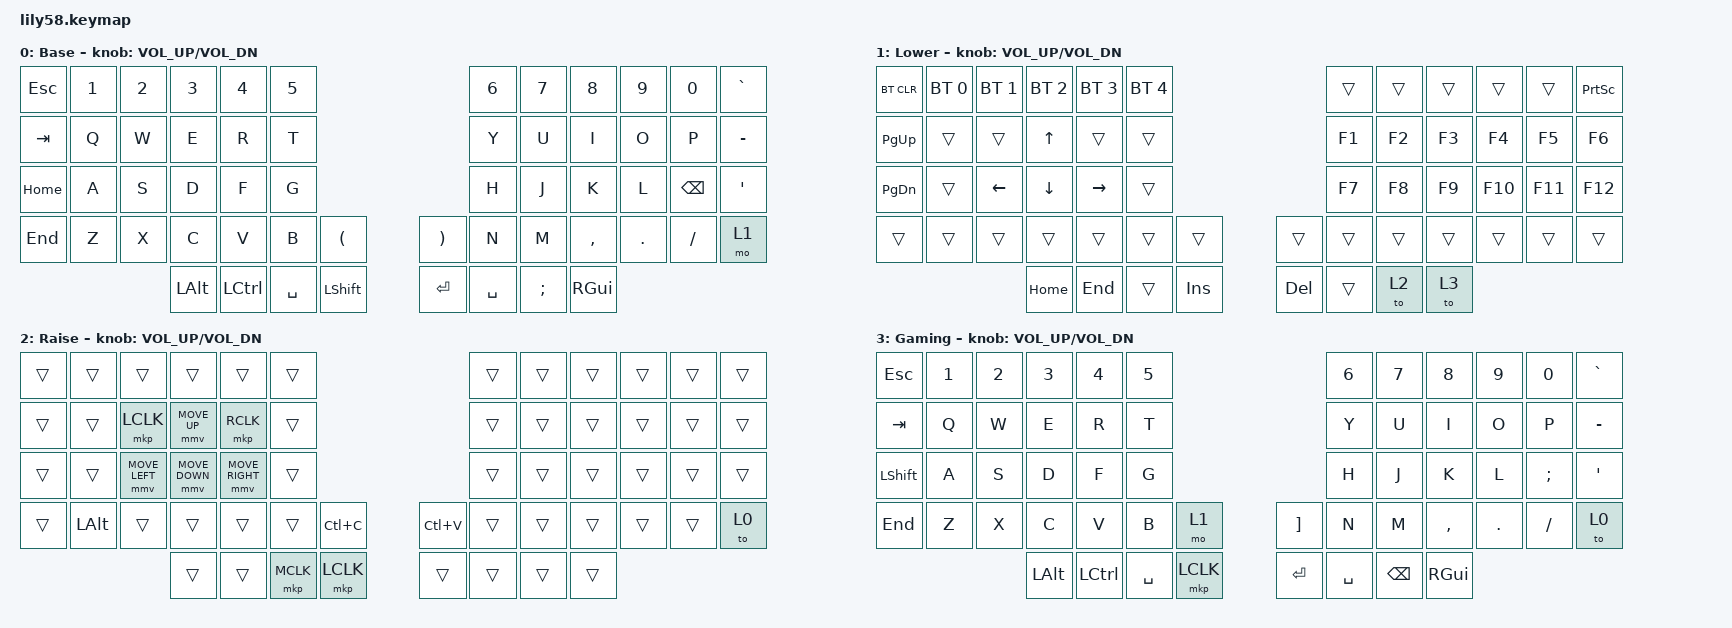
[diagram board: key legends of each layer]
/*
 * Copyright (c) 2020 The ZMK Contributors
 *
 * SPDX-License-Identifier: MIT
 */

#include <behaviors.dtsi>
#include <dt-bindings/zmk/bt.h>
#include <dt-bindings/zmk/keys.h>
#include <dt-bindings/zmk/pointing.h>

/ {
    keymap {
        compatible = "zmk,keymap";

        default_layer {
            // ------------------------------------------------------------------------------------------------------------
            // |  ESC  |  1  |  2  |  3   |  4   |  5   |                   |  6   |  7    |  8    |  9   |   0   |   `   |
            // |  TAB  |  Q  |  W  |  E   |  R   |  T   |                   |  Y   |  U    |  I    |  O   |   P   |   -   |
            // |  CTRL |  A  |  S  |  D   |  F   |  G   |                   |  H   |  J    |  K    |  L   |   ;   |   '   |
            // | SHIFT |  Z  |  X  |  C   |  V   |  B   |   "["  |  |  "]"  |  N   |  M    |  ,    |  .   |   /   | SHIFT |
            //                     | ALT  | GUI  | LOWER|  SPACE |  | ENTER | RAISE| BSPC  | GUI   |

            display-name = "Base";
            bindings = <
&kp ESC   &kp N1  &kp N2  &kp N3    &kp N4            &kp N5                                                    &kp N6     &kp N7    &kp N8     &kp N9   &kp N0         &kp GRAVE
&kp TAB   &kp Q   &kp W   &kp E     &kp R             &kp T                                                     &kp Y      &kp U     &kp I      &kp O    &kp P          &kp MINUS
&kp HOME  &kp A   &kp S   &kp D     &kp F             &kp G                                                     &kp H      &kp J     &kp K      &kp L    &kp BACKSPACE  &kp SQT
&kp END   &kp Z   &kp X   &kp C     &kp V             &kp B      &kp LEFT_PARENTHESIS    &kp RIGHT_PARENTHESIS  &kp N      &kp M     &kp COMMA  &kp DOT  &kp FSLH       &mo 1
                          &kp LALT  &kp LEFT_CONTROL  &kp SPACE  &kp LEFT_SHIFT          &kp RET                &kp SPACE  &kp SEMI  &kp RGUI
            >;

            sensor-bindings = <&inc_dec_kp C_VOL_UP C_VOL_DN>;
        };

        lower_layer {
            // ------------------------------------------------------------------------------------------------------------
            // | BTCLR | BT1 | BT2 |  BT3 |  BT4 |  BT5 |                   |      |       |       |      |       |       |
            // |  F1   |  F2 |  F3 |  F4  |  F5  |  F6  |                   |  F7  |  F8   |  F9   |  F10 |  F11  |  F12  |
            // |   `   |  !  |  @  |  #   |  $   |  %   |                   |  ^   |  &    |  *    |  (   |   )   |   ~   |
            // |       |     |     |      |      |      |        |  |       |      |  _    |  +    |  {   |   }   |  "|"  |
            //                     |      |      |      |        |  |       |      |       |       |

            display-name = "Lower";
            bindings = <
&bt BT_CLR  &bt BT_SEL 0  &bt BT_SEL 1  &bt BT_SEL 2  &bt BT_SEL 3  &bt BT_SEL 4                            &trans  &trans  &trans  &trans   &trans   &kp PRINTSCREEN
&kp PG_UP   &trans        &trans        &kp UP        &trans        &trans                                  &kp F1  &kp F2  &kp F3  &kp F4   &kp F5   &kp F6
&kp PG_DN   &trans        &kp LEFT      &kp DOWN      &kp RIGHT     &trans                                  &kp F7  &kp F8  &kp F9  &kp F10  &kp F11  &kp F12
&trans      &trans        &trans        &trans        &trans        &trans        &trans        &trans      &trans  &trans  &trans  &trans   &trans   &trans
                                        &kp HOME      &kp END       &trans        &kp INSERT    &kp DELETE  &trans  &to 2   &to 3
            >;

            sensor-bindings = <&inc_dec_kp C_VOL_UP C_VOL_DN>;
        };

        raise_layer {
            // ------------------------------------------------------------------------------------------------------------
            // |       |     |     |      |      |      |                   |      |       |       |      |       |       |
            // |   `   |  1  |  2  |  3   |  4   |  5   |                   |  6   |   7   |   8   |  9   |   0   |       |
            // |   F1  |  F2 |  F3 |  F4  |  F5  |  F6  |                   |      |   <-  |   v   |  ^   |  ->   |       |
            // |   F7  |  F8 |  F9 |  F10 |  F11 |  F12 |        |  |       |  +   |   -   |   =   |  [   |   ]   |   \   |
            //                     |      |      |      |        |  |       |      |       |       |

            display-name = "Raise";
            bindings = <
&trans  &trans        &trans          &trans          &trans           &trans                             &trans  &trans  &trans  &trans  &trans  &trans
&trans  &trans        &mkp LCLK       &mmv MOVE_UP    &mkp RCLK        &trans                             &trans  &trans  &trans  &trans  &trans  &trans
&trans  &trans        &mmv MOVE_LEFT  &mmv MOVE_DOWN  &mmv MOVE_RIGHT  &trans                             &trans  &trans  &trans  &trans  &trans  &trans
&trans  &kp LEFT_ALT  &trans          &trans          &trans           &trans     &kp LC(C)    &kp LC(V)  &trans  &trans  &trans  &trans  &trans  &to 0
                                      &trans          &trans           &mkp MCLK  &mkp LCLK    &trans     &trans  &trans  &trans
            >;

            sensor-bindings = <&inc_dec_kp C_VOL_UP C_VOL_DN>;
        };

        Gaming {
            display-name = "Gaming";
            bindings = <
&kp ESC         &kp N1  &kp N2  &kp N3    &kp N4            &kp N5                            &kp N6     &kp N7    &kp N8     &kp N9   &kp N0    &kp GRAVE
&kp TAB         &kp Q   &kp W   &kp E     &kp R             &kp T                             &kp Y      &kp U     &kp I      &kp O    &kp P     &kp MINUS
&kp LEFT_SHIFT  &kp A   &kp S   &kp D     &kp F             &kp G                             &kp H      &kp J     &kp K      &kp L    &kp SEMI  &kp SQT
&kp END         &kp Z   &kp X   &kp C     &kp V             &kp B      &mo 1        &kp RBKT  &kp N      &kp M     &kp COMMA  &kp DOT  &kp FSLH  &to 0
                                &kp LALT  &kp LEFT_CONTROL  &kp SPACE  &mkp LCLK    &kp RET   &kp SPACE  &kp BSPC  &kp RGUI
            >;

            sensor-bindings = <&inc_dec_kp C_VOL_UP C_VOL_DN>;
        };
    };
};
